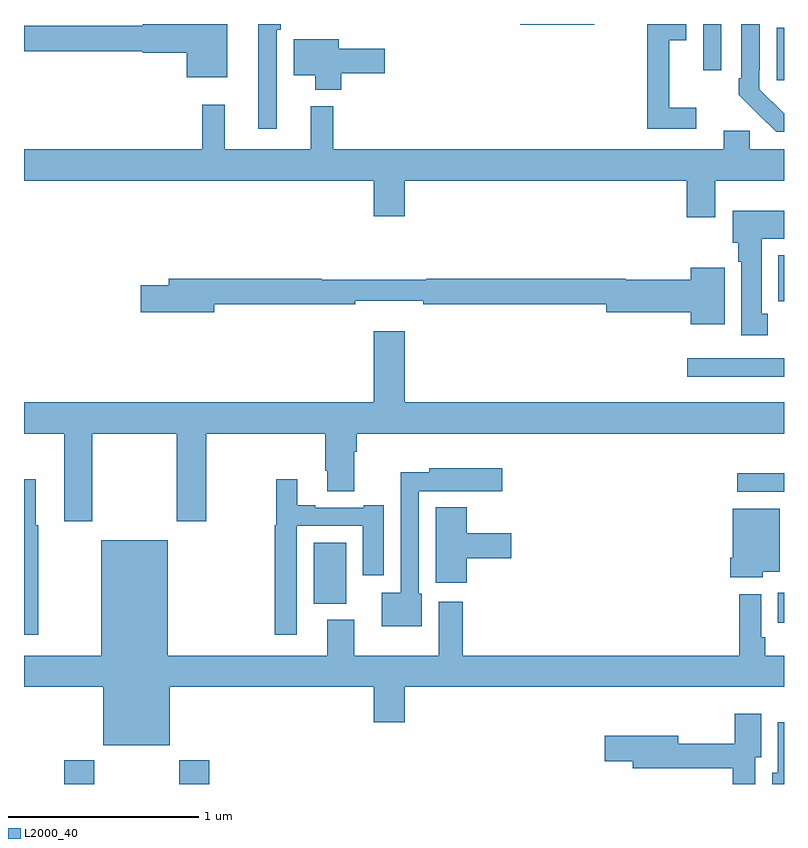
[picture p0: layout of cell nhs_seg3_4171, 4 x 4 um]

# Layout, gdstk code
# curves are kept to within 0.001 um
import gdstk
lib = gdstk.Library(unit=1e-6, precision=1e-09)
def R(c, l, rs):  # rectangles x0, y0, x1, y1
    for r in rs: c.add(gdstk.rectangle(r[:2], r[2:], *l))
def P(c, l, *ps):  # polygons
    for p in ps: c.add(gdstk.Polygon(p, *l))
L2000_40 = (2000, 40)

nhs_seg3_4171 = lib.new_cell('nhs_seg3_4171')
R(nhs_seg3_4171, L2000_40, [(331.211,704.4,331.371,704.524), (331.816,704.4,331.976,704.524), (334.966,705.248,335,705.406), (332.525,705.35,332.695,705.67), (334.755,705.939,335,706.035), (334.491,706.544,335,706.641), (334.97,706.94,335,707.182), (334.961,708.105,335,708.379), (334.575,708.156,334.671,708.4), (333.612,708.395,334,708.4)])
P(nhs_seg3_4171, L2000_40, [(334.537,707.959),(334.397,707.959),(334.397,708.314),(334.486,708.314),(334.486,708.4),(334.279,708.4),(334.279,707.85),(334.537,707.85)],
  [(332.071,708.4),(331.626,708.4),(331.626,708.392),(331,708.392),(331,708.256),(331.626,708.256),(331.626,708.248),(331.856,708.248),(331.856,708.119),(332.071,708.119)],
  [(332.331,708.371),(332.351,708.371),(332.351,708.4),(332.234,708.4),(332.234,707.85),(332.331,707.85)],
  [(335,707.929),(334.998,707.929),(334.869,708.057),(334.869,708.157),(334.872,708.157),(334.872,708.4),(334.776,708.4),(334.776,708.115),(334.761,708.115),(334.761,708.027),(334.958,707.832),(335,707.832)],
  [(332.669,708.142),(332.899,708.142),(332.899,708.271),(332.656,708.271),(332.656,708.319),(332.42,708.319),(332.42,708.131),(332.534,708.131),(332.534,708.053),(332.669,708.053)],
  [(334.639,707.576),(335,707.576),(335,707.74),(334.821,707.74),(334.821,707.838),(334.682,707.838),(334.682,707.74),(332.627,707.74),(332.627,707.968),(332.51,707.968),(332.51,707.74),(332.057,707.74),(332.057,707.974),(331.939,707.974),(331.939,707.74),(331,707.74),(331,707.576),(332.84,707.576),(332.84,707.388),(333.004,707.388),(333.004,707.576),(334.487,707.576),(334.487,707.382),(334.639,707.382)],
  [(334.915,706.874),(334.882,706.874),(334.882,707.27),(335,707.27),(335,707.416),(334.73,707.416),(334.73,707.25),(334.76,707.25),(334.76,707.15),(334.775,707.15),(334.775,706.761),(334.915,706.761)],
  [(334.687,707.116),(334.508,707.116),(334.508,707.054),(334.168,707.054),(334.168,707.06),(333.118,707.06),(333.118,707.053),(332.567,707.053),(332.567,707.06),(331.763,707.06),(331.763,707.024),(331.614,707.024),(331.614,706.882),(332.002,706.882),(332.002,706.924),(332.744,706.924),(332.744,706.943),(333.1,706.943),(333.1,706.924),(334.064,706.924),(334.064,706.882),(334.508,706.882),(334.508,706.82),(334.687,706.82)],
  [(331.359,706.244),(331.804,706.244),(331.804,705.783),(331.959,705.783),(331.959,706.244),(332.585,706.244),(332.585,706.048),(332.597,706.048),(332.597,705.94),(332.737,705.94),(332.737,706.148),(332.75,706.148),(332.75,706.244),(335,706.244),(335,706.408),(333.004,706.408),(333.004,706.783),(332.84,706.783),(332.84,706.408),(331,706.408),(331,706.244),(331.211,706.244),(331.211,705.783),(331.359,705.783)],
  [(333.094,705.402),(333.078,705.402),(333.078,705.942),(333.29,705.942),(333.29,705.941),(333.517,705.941),(333.517,706.063),(333.132,706.063),(333.132,706.04),(332.982,706.04),(332.982,705.406),(332.882,705.406),(332.882,705.23),(333.094,705.23)],
  [(332.436,705.759),(332.783,705.759),(332.783,705.498),(332.893,705.498),(332.893,705.868),(332.789,705.868),(332.789,705.855),(332.533,705.855),(332.533,705.868),(332.437,705.868),(332.437,706.003),(332.328,706.003),(332.328,705.762),(332.32,705.762),(332.32,705.186),(332.436,705.186)],
  [(331.075,705.762),(331.063,705.762),(331.063,706.003),(331,706.003),(331,705.186),(331.075,705.186)],
  [(333.329,705.587),(333.565,705.587),(333.565,705.721),(333.329,705.721),(333.329,705.856),(333.167,705.856),(333.167,705.459),(333.329,705.459)],
  [(334.888,705.518),(334.978,705.518),(334.978,705.85),(334.73,705.85),(334.73,705.592),(334.718,705.592),(334.718,705.488),(334.888,705.488)],
  [(331.768,704.912),(332.84,704.912),(332.84,704.724),(333.004,704.724),(333.004,704.912),(335,704.912),(335,705.076),(334.901,705.076),(334.901,705.172),(334.881,705.172),(334.881,705.4),(334.765,705.4),(334.765,705.076),(333.308,705.076),(333.308,705.358),(333.182,705.358),(333.182,705.076),(332.737,705.076),(332.737,705.265),(332.597,705.265),(332.597,705.076),(331.756,705.076),(331.756,705.682),(331.406,705.682),(331.406,705.076),(331,705.076),(331,704.912),(331.418,704.912),(331.418,704.603),(331.768,704.603)],
  [(334.849,704.541),(334.879,704.541),(334.879,704.77),(334.741,704.77),(334.741,704.611),(334.444,704.611),(334.444,704.653),(334.056,704.653),(334.056,704.519),(334.205,704.519),(334.205,704.482),(334.731,704.482),(334.731,704.4),(334.849,704.4)],
  [(335,704.726),(334.968,704.726),(334.968,704.46),(334.937,704.46),(334.937,704.4),(335,704.4)])

lib.write_gds('nhs_seg3_4171.gds')
